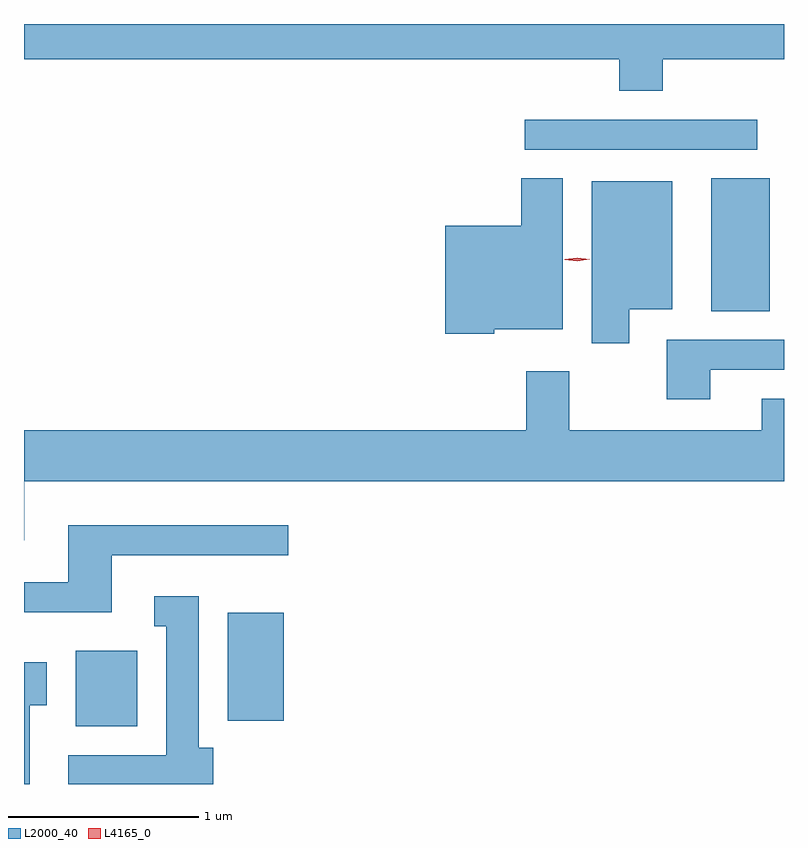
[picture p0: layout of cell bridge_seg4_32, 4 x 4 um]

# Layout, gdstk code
import gdstk
lib = gdstk.Library(unit=1e-6, precision=1e-09)
def R(c, l, rs):  # rectangles x0, y0, x1, y1
    for r in rs: c.add(gdstk.rectangle(r[:2], r[2:], *l))
def P(c, l, *ps):  # polygons
    for p in ps: c.add(gdstk.Polygon(p, *l))
L2000_40 = (2000, 40)
L4165_0 = (4165, 0)

bridge_seg4_32 = lib.new_cell('bridge_seg4_32')
R(bridge_seg4_32, L2000_40, [(1240.071,1282.346,1240.394,1282.744), (1240.871,1282.376,1241.164,1282.944), (1243.416,1284.531,1243.724,1285.229), (1242.433,1285.381,1243.658,1285.539)])
P(bridge_seg4_32, L2000_40, [(1243.159,1285.856),(1243.798,1285.856),(1243.798,1286.042),(1239.798,1286.042),(1239.798,1285.856),(1242.931,1285.856),(1242.931,1285.691),(1243.159,1285.691)],
  [(1242.274,1284.436),(1242.634,1284.436),(1242.634,1285.229),(1242.416,1285.229),(1242.416,1284.979),(1242.016,1284.979),(1242.016,1284.411),(1242.274,1284.411)],
  [(1242.984,1284.541),(1243.209,1284.541),(1243.209,1285.214),(1242.786,1285.214),(1242.786,1284.361),(1242.984,1284.361)],
  [(1243.409,1284.221),(1243.798,1284.221),(1243.798,1284.379),(1243.181,1284.379),(1243.181,1284.066),(1243.409,1284.066)],
  [(1239.799,1283.636),(1243.798,1283.636),(1243.798,1284.069),(1243.681,1284.069),(1243.681,1283.904),(1242.669,1283.904),(1242.669,1284.214),(1242.441,1284.214),(1242.441,1283.904),(1239.798,1283.904),(1239.798,1283.326),(1239.799,1283.326)],
  [(1240.259,1283.246),(1241.188,1283.246),(1241.188,1283.404),(1240.031,1283.404),(1240.031,1283.104),(1239.798,1283.104),(1239.798,1282.946),(1240.259,1282.946)],
  [(1240.794,1282.234),(1240.719,1282.234),(1240.719,1283.029),(1240.483,1283.029),(1240.483,1282.871),(1240.546,1282.871),(1240.546,1282.194),(1240.031,1282.194),(1240.031,1282.042),(1240.794,1282.042)],
  [(1239.829,1282.456),(1239.919,1282.456),(1239.919,1282.684),(1239.798,1282.684),(1239.798,1282.042),(1239.829,1282.042)])
P(bridge_seg4_32, L4165_0, [(1242.71,1284.793),(1242.644,1284.802),(1242.644,1284.802),(1242.644,1284.803),(1242.71,1284.813),(1242.775,1284.804),(1242.776,1284.803),(1242.775,1284.803)])

lib.write_gds('bridge_seg4_32.gds')
